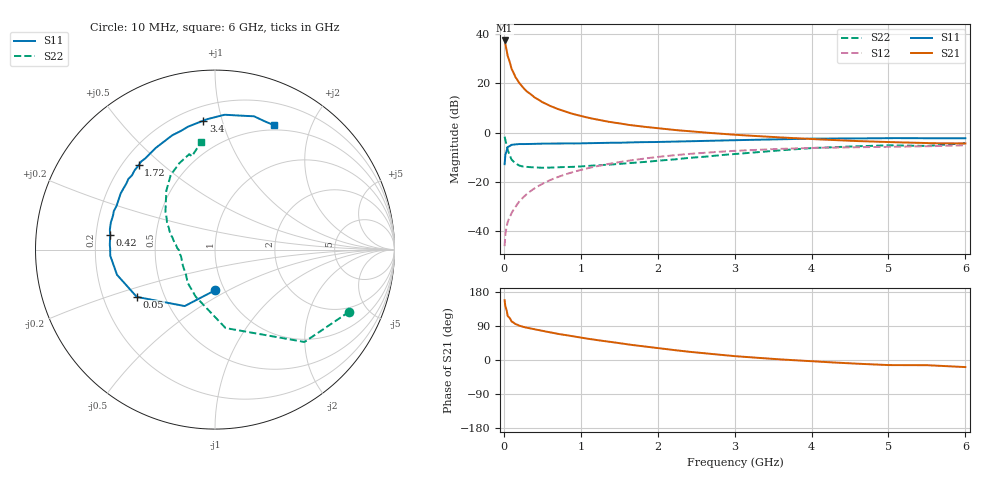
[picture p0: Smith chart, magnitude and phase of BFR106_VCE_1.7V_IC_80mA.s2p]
! Infineon Technologies  Discrete & RF Semiconductors
! BFR106
! VCE =  1.7 V,  IC =  80 mA
! Common Emitter S-Parameters:  Nov 2015
# GHz  S  MA  R  50
!  f  S11  S21  S12  S22
! GHz  MAG  ANG  MAG  ANG  MAG  ANG  MAG  ANG
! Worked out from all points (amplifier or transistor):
!   210 points, 10 MHz to 6 GHz, reference 50 ohm
!   highest |S21| = 37.5 dB at 10 MHz (marker M1)
!   |S21| within 3 dB of that: start of sweep to 30.14 MHz
!   unconditionally stable (mu >= 1): 148.9 MHz to 3.408 GHz; 4.178 GHz to end of sweep
!   at 185 MHz: K = 1.02, MAG = 23.9 dB, |S12| = -28.7 dB
!   at 1.52 GHz: K = 1.07, MAG = 6.2 dB, |S12| = -11.9 dB
!   at 6 GHz: K = 1.02, MAG = -0.5 dB, |S12| = -5.2 dB
!   S11 on the Smith chart (normalised r, x): 10 MHz: 0.90, -0.43; 50 MHz: 0.35, -0.25; 420 MHz: 0.26, +0.07; 1.72 GHz: 0.27, +0.42; 3.4 GHz: 0.29, +0.87; 6 GHz: 0.44, +1.49
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0.01  0.2278 -90.5  74.68 157.7  0.0049 74.2  0.8243 -24.8
0.02  0.357 -118.2  62.77 141.1  0.0085 65.0  0.7165 -45.9
0.05  0.5093 -148.8  36.14 116.0  0.0151 59.4  0.4412 -82.3
0.1  0.5638 -165.6  19.85 101.6  0.023 64.1  0.2834 -112.3
0.15  0.5751 -173.1  13.48 94.9  0.0308 67.7  0.2399 -129.3
0.2  0.5847 -176.6  10.23 90.7  0.0394 70.2  0.2135 -139.3
0.26  0.5842 179.4  7.914 87.0  0.0495 71.9  0.203 -149.0
0.3  0.5867 177.4  6.85 85.1  0.0565 72.5  0.2005 -152.8
0.4  0.5891 172.5  5.182 80.8  0.0736 72.7  0.1953 -161.0
0.42  0.5904 171.9  4.977 80.1  0.077 72.6  0.1947 -162.1
0.5  0.5962 169.3  4.164 76.9  0.0905 72.1  0.1929 -166.5
0.6  0.5996 165.5  3.494 72.8  0.1078 71.2  0.1936 -169.8
0.7  0.5983 162.1  3.024 69.0  0.1245 69.8  0.1972 -172.8
1.02  0.6065 151.8  2.137 58.6  0.1771 65.0  0.2059 179.2
1.3  0.6149 143.6  1.722 50.0  0.2214 60.0  0.2188 173.1
1.72  0.6341 132.1  1.372 38.4  0.2815 52.8  0.2444 164.7
2.02  0.645 124.5  1.212 30.8  0.3219 47.4  0.2696 159.0
3.1  0.7051 100.6  0.884 8.8  0.4321 28.8  0.3765 136.8
3.4  0.7211 95.2  0.828 4.3  0.4546 24.2  0.4126 131.2
4.1  0.7536 84.6  0.727 -4.5  0.4907 13.9  0.4907 118.9
5.1  0.7719 72.7  0.635 -13.5  0.5179 2.4  0.5476 104.9
6  0.7673 64.5  0.602 -18.7  0.552 -6.4  0.6068 97.2
